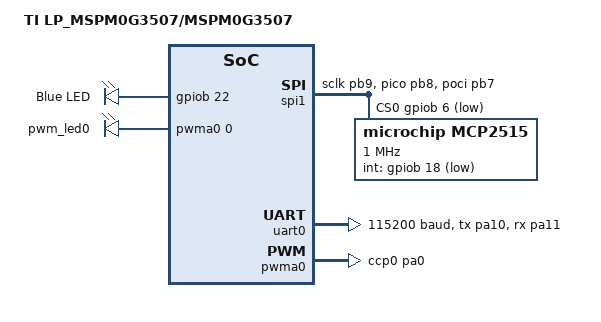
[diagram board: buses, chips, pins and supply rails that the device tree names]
/*
 * Copyright (c) 2025 Texas Instruments
 * Copyright (c) 2025 Linumiz
 *
 * SPDX-License-Identifier: Apache-2.0
 */

/dts-v1/;

#include <ti/mspm0/g/mspm0g3507.dtsi>
#include <ti/mspm0/g/mspm0g1x0x_g3x0x-pinctrl.dtsi>
#include <zephyr/dt-bindings/adc/adc.h>
#include <zephyr/dt-bindings/clock/mspm0_clock.h>
#include <zephyr/dt-bindings/gpio/gpio.h>
#include <zephyr/dt-bindings/pwm/pwm.h>

/ {
	model = "TI LP_MSPM0G3507/MSPM0G3507";
	compatible = "ti,mspm0g3507";

	aliases {
		led0 = &led0;
		pwm-led0 = &pwm_led0;
	};

	chosen {
		zephyr,sram = &sram0;
		zephyr,flash = &flash0;
		zephyr,console = &uart0;
		zephyr,shell-uart = &uart0;
		zephyr,code-partition = &slot0_partition;
		zephyr,canbus = &mcp2515;
	};

	leds {
		compatible = "gpio-leds";

		led0: led_0 {
			gpios = <&gpiob 22 GPIO_ACTIVE_HIGH>;
			label = "Blue LED";
		};
	};

	pwm_leds {
		compatible = "pwm-leds";

		pwm_led0: pwm_led0 {
			pwms = <&pwma0 0 PWM_MSEC(100) PWM_POLARITY_NORMAL>;
		};
	};

#if 0
	zephyr,user {
		io-channels = <&ads1310 0>, <&ads1310 1>;
	};
#endif
};

&cpu0 {
	clock-frequency = <DT_FREQ_M(80)>;
};

&ulpclk {
	clock-frequency = <DT_FREQ_M(40)>;
	clk-div = <2>;
};

&mclk {
	clock-frequency = <DT_FREQ_M(80)>;
	clocks = <&hsclk 0>;
};

&hsclk {
	clocks = <&syspll2x 0>;
	status = "okay";
};

#if 0
&spi0 {
	pinctrl-0 = <&spi0_sclk_pa12 &spi0_pico_pa14 &spi0_poci_pa13 &spi0_cs0_pa8>; //&ads1310_nrst_pa27_pullup>;
#endif

&spi1 {
	pinctrl-0 = <&spi1_sclk_pb9 &spi1_pico_pb8 &spi1_poci_pb7>; //&spi1_cs0_pb6>;
	pinctrl-names = "default";
	status = "okay";
	#address-cells = <1>;
	#size-cells = <0>;
	cs-gpios = <&gpiob 6 GPIO_ACTIVE_LOW>;

	mcp2515: mcp2518fd@0 {
		compatible = "microchip,mcp2515";
		status = "okay";
		spi-max-frequency = <1000000>;
		int-gpios = <&gpiob 18 GPIO_ACTIVE_LOW>;
		reg = <0x0>;
		osc-freq = <16000000>;
		can-transceiver {
			min-bitrate = <60000>;
			max-bitrate = <1000000>;
		};

	};

#if 0
	ads1310: ads1310@0 {
		compatible = "ti,ads131m02";
		reg = <0>;
//		clocks = <&clkmux MSPM0_CLOCK_BUS_CLK_OUT>;
//		clock-frequency = <2000000>;
		#io-channel-cells = <1>;
//		drdy-gpios = <&gpioa 26 (GPIO_ACTIVE_LOW | GPIO_PULL_UP)>;
		drdy-gpios = <&gpiob 18 (GPIO_ACTIVE_LOW)>;
		spi-max-frequency = <8192000>;
		#address-cells = <1>;
		#size-cells = <0>;

		channel@0 {
			reg = <0>;
			zephyr,gain = "ADC_GAIN_1";
			zephyr,reference = "ADC_REF_INTERNAL";
			zephyr,acquisition-time = <ADC_ACQ_TIME_DEFAULT>;
			zephyr,resolution = <24>;
		};

		channel@1 {
			reg = <1>;
			zephyr,gain = "ADC_GAIN_1";
			zephyr,reference = "ADC_REF_INTERNAL";
			zephyr,acquisition-time = <ADC_ACQ_TIME_DEFAULT>;
			zephyr,resolution = <24>;
		};

	};
#endif
};

&syspll2x {
	status = "okay";
};

&flash0 {
	status = "okay";

	partitions {
		compatible = "fixed-partitions";
		#address-cells = <1>;
		#size-cells = <1>;

		boot_partition: partition@0 {
			label = "mcuboot";
			reg = <0x00000000 0x8000>;
		};

		slot0_partition: partition@8000 {
			label = "image-0";
			reg = <0x00008000 0xC000>;
		};

		slot1_partition: partition@14000 {
			label = "image-1";
			reg = <0x00014000 0xC000>;
		};
	};
};

&pinctrl {
	status = "okay";
};

&gpioa {
	status = "okay";
};

&gpiob {
	status = "okay";
};

&uart0 {
	status = "okay";

	current-speed = <115200>;
	pinctrl-0 = <&uart0_tx_pa10 &uart0_rx_pa11>;
	pinctrl-names = "default";
};

&pwma0 {
	status = "okay";

	pinctrl-0 = <&tima0_ccp0_pa0>;
	pinctrl-names = "default";
	ti,cc-index = <0>;
	ti,pwm-mode = "EDGE_ALIGN";
	ti,period = <1000>;
};
